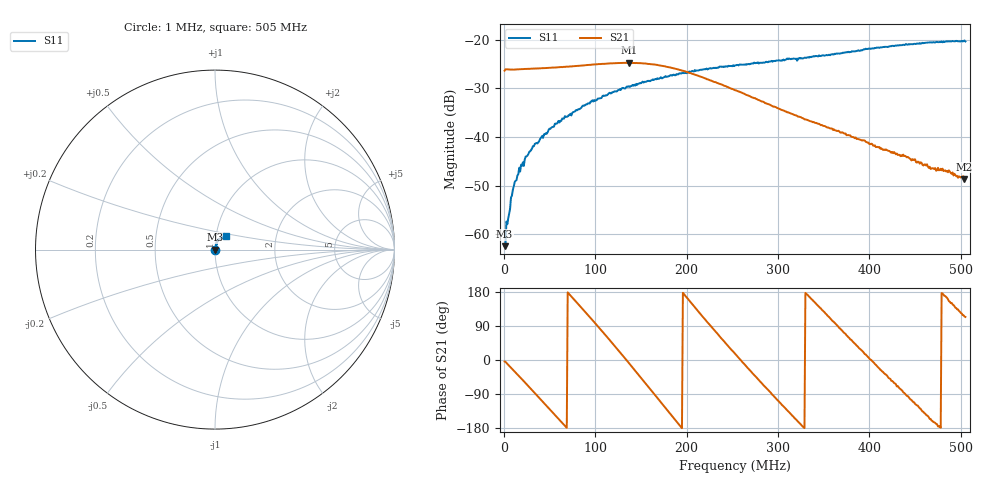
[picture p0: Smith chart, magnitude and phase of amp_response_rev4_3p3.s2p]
# HZ S RI R 50
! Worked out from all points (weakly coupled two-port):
!   505 points, 1 MHz to 505 MHz, reference 50 ohm
!   highest |S21| = -24.74 dB at 137 MHz (marker M1); lowest = -48.6 dB at 504 MHz (marker M2)
!   lowest |S11| = -62.4 dB at 1 MHz (marker M3), VSWR 1.00, Z = 49.9 + j0.0233 ohm
!   |S11| at or under -10 dB: start of sweep to end of sweep
!   S12 and S22 are empty: the file has one direction only
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1000000  -0.000719 0.000233  0.048 -0.00326  0 0  0 0
1e7  0.000298 0.00286  0.0446 -0.0211  0 0  0 0
1.7e7  0.000554 0.00481  0.0364 -0.0339  0 0  0 0
2.5e7  0.00087 0.00628  0.0222 -0.0449  0 0  0 0
3.4e7  0.00157 0.00834  0.00254 -0.0505  0 0  0 0
5.1e7  0.00306 0.0117  -0.0342 -0.0385  0 0  0 0
8.5e7  0.00584 0.0192  -0.0402 0.0363  0 0  0 0
1.1e8  0.00733 0.0254  0.02 0.0529  0 0  0 0
1.37e8  0.00846 0.0321  0.0574 -0.00822  0 0  0 0
1.54e8  0.00976 0.0356  0.03 -0.0484  0 0  0 0
1.69e8  0.00986 0.0384  -0.0122 -0.0533  0 0  0 0
1.92e8  0.0125 0.0433  -0.0485 -0.00772  0 0  0 0
2.16e8  0.0132 0.0473  -0.0201 0.0363  0 0  0 0
2.53e8  0.0155 0.0522  0.029 0.00863  0 0  0 0
2.89e8  0.0195 0.0554  0.00432 -0.0214  0 0  0 0
3.37e8  0.0287 0.0604  -0.0135 0.00497  0 0  0 0
4.21e8  0.048 0.0701  0.00489 -0.00529  0 0  0 0
4.39e8  0.0517 0.0719  0.000103 -0.00641  0 0  0 0
4.67e8  0.0569 0.075  -0.00428 -0.00192  0 0  0 0
4.85e8  0.0578 0.076  -0.00431 0.00126  0 0  0 0
5.04e8  0.0601 0.0777  -0.00156 0.00338  0 0  0 0
5.05e8  0.0597 0.0752  -0.00154 0.00352  0 0  0 0
